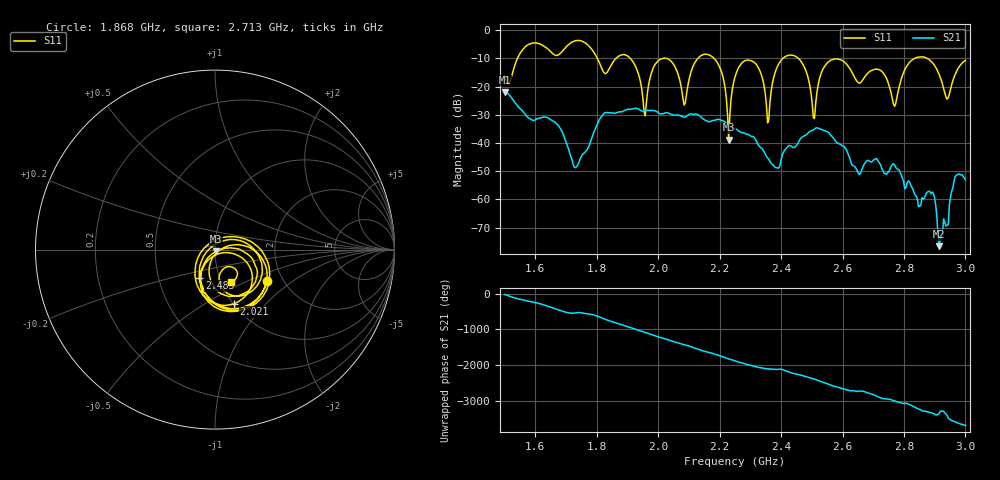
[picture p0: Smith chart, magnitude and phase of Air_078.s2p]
# HZ S RI R 50
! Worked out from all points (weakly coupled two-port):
!   404 points, 1.5 GHz to 3 GHz, reference 50 ohm
!   highest |S21| = -21.90 dB at 1.5 GHz (marker M1); lowest = -76.6 dB at 2.914 GHz (marker M2)
!   lowest |S11| = -38.8 dB at 2.23 GHz (marker M3), VSWR 1.02, Z = 50.6 - j0.98 ohm
!   |S11| at or under -10 dB: 2.182 GHz to 2.406 GHz (224.1 MHz wide, 9.77 % of centre); 2.456 GHz to 2.834 GHz (377.9 MHz wide, 14.3 % of centre); 2.875 GHz to end of sweep (the widest 3 of 7)
!   S12 and S22 are empty: the file has one direction only
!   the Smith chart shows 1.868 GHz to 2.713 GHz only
!   S11 on the Smith chart (normalised r, x): 1.868 GHz: 1.65, -0.65; 2.021 GHz: 1.01, -0.68; 2.483 GHz: 0.80, -0.26; 2.713 GHz: 1.11, -0.42
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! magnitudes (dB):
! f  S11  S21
! 1.5 GHz  -16.1  -21.9
! 1.753 GHz  -3.9  -44.2
! 1.868 GHz  -9.4  -29.1
! 1.958 GHz  -30.3  -28.4
! 2.002 GHz  -10.6  -29.5
! 2.021 GHz  -9.9  -29.4
! 2.084 GHz  -26.6  -30.8
! 2.177 GHz  -9.5  -32.0
! 2.23 GHz  -38.8  -33.8
! 2.252 GHz  -16.0  -35.0
! 2.315 GHz  -11.6  -38.5
! 2.356 GHz  -32.8  -45.3
! 2.386 GHz  -13.4  -48.8
! 2.483 GHz  -14.9  -36.9
! 2.501 GHz  -25.9  -35.6
! 2.561 GHz  -10.7  -37.1
! 2.713 GHz  -13.8  -45.9
! 2.751 GHz  -19.3  -50.2
! 2.892 GHz  -11.4  -57.4
! 2.914 GHz  -15.7  -76.6
! 2.94 GHz  -24.4  -69.2
! 3 GHz  -10.7  -53.0
